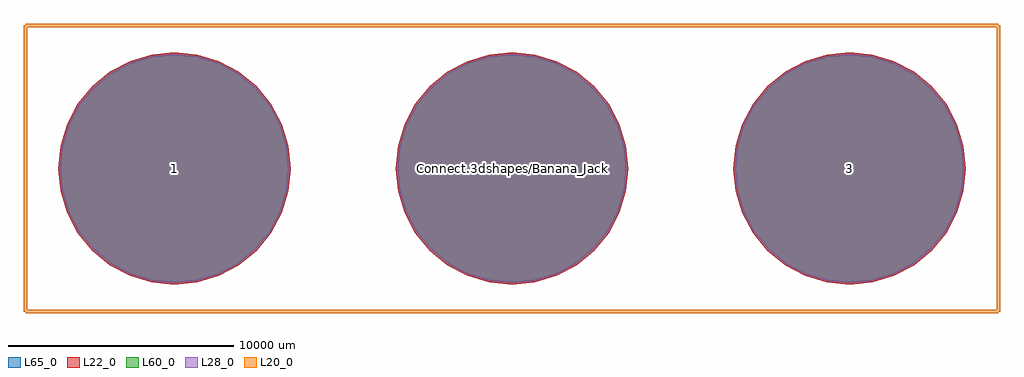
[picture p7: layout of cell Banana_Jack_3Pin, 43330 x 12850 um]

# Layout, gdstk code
import gdstk
lib = gdstk.Library(unit=1e-6, precision=1e-09)
def P(c, l, *ps):  # polygons
    for p in ps: c.add(gdstk.Polygon(p, *l))
L20_0 = (20, 0)
L22_0 = (22, 0)
L28_0 = (28, 0)
L60_0 = (60, 0)
L65_0 = (65, 0)

banana_jack_3pin = lib.new_cell('Banana_Jack_3Pin')
P(banana_jack_3pin, L22_0, [(5155,0),(5055.948,1005.691),(4762.599,1972.733),(4286.226,2863.965),(3645.135,3645.135),(2863.965,4286.226),(1972.733,4762.599),(1005.691,5055.948),(0,5155),(-1005.691,5055.948),(-1972.733,4762.599),(-2863.965,4286.226),(-3645.135,3645.135),(-4286.226,2863.965),(-4762.599,1972.733),(-5055.948,1005.691),(-5155,0),(-5055.948,-1005.691),(-4762.599,-1972.733),(-4286.226,-2863.965),(-3645.135,-3645.135),(-2863.965,-4286.226),(-1972.733,-4762.599),(-1005.691,-5055.948),(0,-5155),(1005.691,-5055.948),(1972.733,-4762.599),(2863.965,-4286.226),(3645.135,-3645.135),(4286.226,-2863.965),(4762.599,-1972.733),(5055.948,-1005.691)],
  [(20141,0),(20041.948,1005.691),(19748.599,1972.733),(19272.226,2863.965),(18631.135,3645.135),(17849.965,4286.226),(16958.733,4762.599),(15991.691,5055.948),(14986,5155),(13980.309,5055.948),(13013.267,4762.599),(12122.035,4286.226),(11340.865,3645.135),(10699.774,2863.965),(10223.401,1972.733),(9930.052,1005.691),(9831,0),(9930.052,-1005.691),(10223.401,-1972.733),(10699.774,-2863.965),(11340.865,-3645.135),(12122.035,-4286.226),(13013.267,-4762.599),(13980.309,-5055.948),(14986,-5155),(15991.691,-5055.948),(16958.733,-4762.599),(17849.965,-4286.226),(18631.135,-3645.135),(19272.226,-2863.965),(19748.599,-1972.733),(20041.948,-1005.691)],
  [(-9831,0),(-9930.052,1005.691),(-10223.401,1972.733),(-10699.774,2863.965),(-11340.865,3645.135),(-12122.035,4286.226),(-13013.267,4762.599),(-13980.309,5055.948),(-14986,5155),(-15991.691,5055.948),(-16958.733,4762.599),(-17849.965,4286.226),(-18631.135,3645.135),(-19272.226,2863.965),(-19748.599,1972.733),(-20041.948,1005.691),(-20141,0),(-20041.948,-1005.691),(-19748.599,-1972.733),(-19272.226,-2863.965),(-18631.135,-3645.135),(-17849.965,-4286.226),(-16958.733,-4762.599),(-15991.691,-5055.948),(-14986,-5155),(-13980.309,-5055.948),(-13013.267,-4762.599),(-12122.035,-4286.226),(-11340.865,-3645.135),(-10699.774,-2863.965),(-10223.401,-1972.733),(-9930.052,-1005.691)])
P(banana_jack_3pin, L28_0, [(5080,0),(4982.389,991.059),(4693.308,1944.032),(4223.866,2822.297),(3592.102,3592.102),(2822.297,4223.866),(1944.032,4693.308),(991.059,4982.389),(0,5080),(-991.059,4982.389),(-1944.032,4693.308),(-2822.297,4223.866),(-3592.102,3592.102),(-4223.866,2822.297),(-4693.308,1944.032),(-4982.389,991.059),(-5080,0),(-4982.389,-991.059),(-4693.308,-1944.032),(-4223.866,-2822.297),(-3592.102,-3592.102),(-2822.297,-4223.866),(-1944.032,-4693.308),(-991.059,-4982.389),(0,-5080),(991.059,-4982.389),(1944.032,-4693.308),(2822.297,-4223.866),(3592.102,-3592.102),(4223.866,-2822.297),(4693.308,-1944.032),(4982.389,-991.059)],
  [(20066,0),(19968.389,991.059),(19679.308,1944.032),(19209.866,2822.297),(18578.102,3592.102),(17808.297,4223.866),(16930.032,4693.308),(15977.059,4982.389),(14986,5080),(13994.941,4982.389),(13041.968,4693.308),(12163.703,4223.866),(11393.898,3592.102),(10762.134,2822.297),(10292.692,1944.032),(10003.611,991.059),(9906,0),(10003.611,-991.059),(10292.692,-1944.032),(10762.134,-2822.297),(11393.898,-3592.102),(12163.703,-4223.866),(13041.968,-4693.308),(13994.941,-4982.389),(14986,-5080),(15977.059,-4982.389),(16930.032,-4693.308),(17808.297,-4223.866),(18578.102,-3592.102),(19209.866,-2822.297),(19679.308,-1944.032),(19968.389,-991.059)],
  [(-9906,0),(-10003.611,991.059),(-10292.692,1944.032),(-10762.134,2822.297),(-11393.898,3592.102),(-12163.703,4223.866),(-13041.968,4693.308),(-13994.941,4982.389),(-14986,5080),(-15977.059,4982.389),(-16930.032,4693.308),(-17808.297,4223.866),(-18578.102,3592.102),(-19209.866,2822.297),(-19679.308,1944.032),(-19968.389,991.059),(-20066,0),(-19968.389,-991.059),(-19679.308,-1944.032),(-19209.866,-2822.297),(-18578.102,-3592.102),(-17808.297,-4223.866),(-16930.032,-4693.308),(-15977.059,-4982.389),(-14986,-5080),(-13994.941,-4982.389),(-13041.968,-4693.308),(-12163.703,-4223.866),(-11393.898,-3592.102),(-10762.134,-2822.297),(-10292.692,-1944.032),(-10003.611,-991.059)])
P(banana_jack_3pin, L60_0, [(5080,0),(4982.389,991.059),(4693.308,1944.032),(4223.866,2822.297),(3592.102,3592.102),(2822.297,4223.866),(1944.032,4693.308),(991.059,4982.389),(0,5080),(-991.059,4982.389),(-1944.032,4693.308),(-2822.297,4223.866),(-3592.102,3592.102),(-4223.866,2822.297),(-4693.308,1944.032),(-4982.389,991.059),(-5080,0),(-4982.389,-991.059),(-4693.308,-1944.032),(-4223.866,-2822.297),(-3592.102,-3592.102),(-2822.297,-4223.866),(-1944.032,-4693.308),(-991.059,-4982.389),(0,-5080),(991.059,-4982.389),(1944.032,-4693.308),(2822.297,-4223.866),(3592.102,-3592.102),(4223.866,-2822.297),(4693.308,-1944.032),(4982.389,-991.059)],
  [(20066,0),(19968.389,991.059),(19679.308,1944.032),(19209.866,2822.297),(18578.102,3592.102),(17808.297,4223.866),(16930.032,4693.308),(15977.059,4982.389),(14986,5080),(13994.941,4982.389),(13041.968,4693.308),(12163.703,4223.866),(11393.898,3592.102),(10762.134,2822.297),(10292.692,1944.032),(10003.611,991.059),(9906,0),(10003.611,-991.059),(10292.692,-1944.032),(10762.134,-2822.297),(11393.898,-3592.102),(12163.703,-4223.866),(13041.968,-4693.308),(13994.941,-4982.389),(14986,-5080),(15977.059,-4982.389),(16930.032,-4693.308),(17808.297,-4223.866),(18578.102,-3592.102),(19209.866,-2822.297),(19679.308,-1944.032),(19968.389,-991.059)],
  [(-9906,0),(-10003.611,991.059),(-10292.692,1944.032),(-10762.134,2822.297),(-11393.898,3592.102),(-12163.703,4223.866),(-13041.968,4693.308),(-13994.941,4982.389),(-14986,5080),(-15977.059,4982.389),(-16930.032,4693.308),(-17808.297,4223.866),(-18578.102,3592.102),(-19209.866,2822.297),(-19679.308,1944.032),(-19968.389,991.059),(-20066,0),(-19968.389,-991.059),(-19679.308,-1944.032),(-19209.866,-2822.297),(-18578.102,-3592.102),(-17808.297,-4223.866),(-16930.032,-4693.308),(-15977.059,-4982.389),(-14986,-5080),(-13994.941,-4982.389),(-13041.968,-4693.308),(-12163.703,-4223.866),(-11393.898,-3592.102),(-10762.134,-2822.297),(-10292.692,-1944.032),(-10003.611,-991.059)])
P(banana_jack_3pin, L65_0, [(5155,0),(5055.948,1005.691),(4762.599,1972.733),(4286.226,2863.965),(3645.135,3645.135),(2863.965,4286.226),(1972.733,4762.599),(1005.691,5055.948),(0,5155),(-1005.691,5055.948),(-1972.733,4762.599),(-2863.965,4286.226),(-3645.135,3645.135),(-4286.226,2863.965),(-4762.599,1972.733),(-5055.948,1005.691),(-5155,0),(-5055.948,-1005.691),(-4762.599,-1972.733),(-4286.226,-2863.965),(-3645.135,-3645.135),(-2863.965,-4286.226),(-1972.733,-4762.599),(-1005.691,-5055.948),(0,-5155),(1005.691,-5055.948),(1972.733,-4762.599),(2863.965,-4286.226),(3645.135,-3645.135),(4286.226,-2863.965),(4762.599,-1972.733),(5055.948,-1005.691)],
  [(20141,0),(20041.948,1005.691),(19748.599,1972.733),(19272.226,2863.965),(18631.135,3645.135),(17849.965,4286.226),(16958.733,4762.599),(15991.691,5055.948),(14986,5155),(13980.309,5055.948),(13013.267,4762.599),(12122.035,4286.226),(11340.865,3645.135),(10699.774,2863.965),(10223.401,1972.733),(9930.052,1005.691),(9831,0),(9930.052,-1005.691),(10223.401,-1972.733),(10699.774,-2863.965),(11340.865,-3645.135),(12122.035,-4286.226),(13013.267,-4762.599),(13980.309,-5055.948),(14986,-5155),(15991.691,-5055.948),(16958.733,-4762.599),(17849.965,-4286.226),(18631.135,-3645.135),(19272.226,-2863.965),(19748.599,-1972.733),(20041.948,-1005.691)],
  [(-9831,0),(-9930.052,1005.691),(-10223.401,1972.733),(-10699.774,2863.965),(-11340.865,3645.135),(-12122.035,4286.226),(-13013.267,4762.599),(-13980.309,5055.948),(-14986,5155),(-15991.691,5055.948),(-16958.733,4762.599),(-17849.965,4286.226),(-18631.135,3645.135),(-19272.226,2863.965),(-19748.599,1972.733),(-20041.948,1005.691),(-20141,0),(-20041.948,-1005.691),(-19748.599,-1972.733),(-19272.226,-2863.965),(-18631.135,-3645.135),(-17849.965,-4286.226),(-16958.733,-4762.599),(-15991.691,-5055.948),(-14986,-5155),(-13980.309,-5055.948),(-13013.267,-4762.599),(-12122.035,-4286.226),(-11340.865,-3645.135),(-10699.774,-2863.965),(-10223.401,-1972.733),(-9930.052,-1005.691)])
banana_jack_3pin.add(gdstk.FlexPath([(-21590,-6350),(-21590,6350)], 149.998, ends="flush", simple_path=True, layer=20, datatype=0))  # L20_0
banana_jack_3pin.add(gdstk.FlexPath([(21590,-6350),(-21590,-6350)], 149.998, ends="flush", simple_path=True, layer=20, datatype=0))  # L20_0
banana_jack_3pin.add(gdstk.FlexPath([(21590,6350),(21590,-6350)], 149.998, ends="flush", simple_path=True, layer=20, datatype=0))  # L20_0
banana_jack_3pin.add(gdstk.FlexPath([(-21590,6350),(21590,6350)], 149.998, ends="flush", simple_path=True, layer=20, datatype=0))  # L20_0
banana_jack_3pin.add(gdstk.Label('Connect.3dshapes/Banana_Jack_3Pin.wrl', (0,0), layer=12, texttype=0))
banana_jack_3pin.add(gdstk.Label('2', (0,0), layer=28, texttype=0))
banana_jack_3pin.add(gdstk.Label('3', (14986,0), layer=28, texttype=0))
banana_jack_3pin.add(gdstk.Label('1', (-14986,0), layer=28, texttype=0))
banana_jack_3pin.add(gdstk.Label('type', (-7620,7620), layer=9, texttype=0))
banana_jack_3pin.add(gdstk.Label('devicename', (10160,7620), layer=9, texttype=0))

lib.write_gds('Banana_Jack_3Pin.gds')
